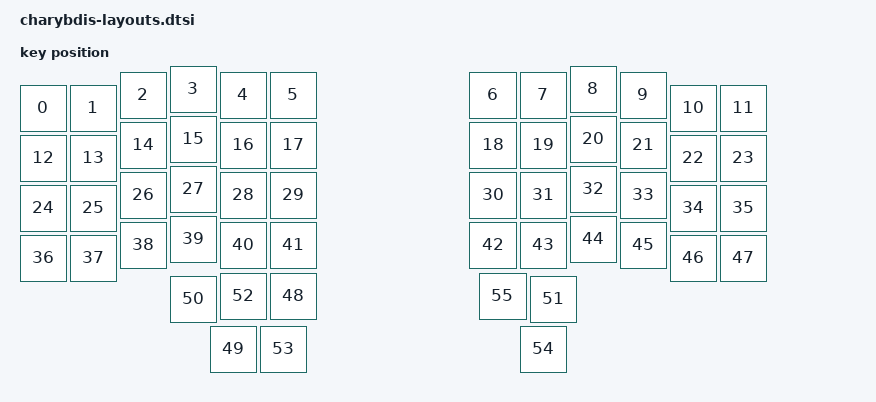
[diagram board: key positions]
#include <physical_layouts.dtsi>

/ {
    charybdis_physical_layout: charybdis_physical_layout {
        compatible = "zmk,physical-layout";
        display-name = "Charybdis 4x6";

        kscan = <&kscan0>;
        transform = <&default_transform>;

        keys
            // Left Half - Main Keys
            //                       w   h    x    y     rot    rx    ry
            = <&key_physical_attrs 100 100    0   38       0     0     0>
            , <&key_physical_attrs 100 100  100   38       0     0     0>
            , <&key_physical_attrs 100 100  200   12       0     0     0>
            , <&key_physical_attrs 100 100  300    0       0     0     0>
            , <&key_physical_attrs 100 100  400   12       0     0     0>
            , <&key_physical_attrs 100 100  500   12       0     0     0>
            , <&key_physical_attrs 100 100  900   12       0     0     0>
            , <&key_physical_attrs 100 100 1000   12       0     0     0>
            , <&key_physical_attrs 100 100 1100    0       0     0     0>
            , <&key_physical_attrs 100 100 1200   12       0     0     0>
            , <&key_physical_attrs 100 100 1300   38       0     0     0>
            , <&key_physical_attrs 100 100 1400   38       0     0     0>
            // 2
            , <&key_physical_attrs 100 100    0  138       0     0     0>
            , <&key_physical_attrs 100 100  100  138       0     0     0>
            , <&key_physical_attrs 100 100  200  112       0     0     0>
            , <&key_physical_attrs 100 100  300  100       0     0     0>
            , <&key_physical_attrs 100 100  400  112       0     0     0>
            , <&key_physical_attrs 100 100  500  112       0     0     0>
            , <&key_physical_attrs 100 100  900  112       0     0     0>
            , <&key_physical_attrs 100 100 1000  112       0     0     0>
            , <&key_physical_attrs 100 100 1100  100       0     0     0>
            , <&key_physical_attrs 100 100 1200  112       0     0     0>
            , <&key_physical_attrs 100 100 1300  138       0     0     0>
            , <&key_physical_attrs 100 100 1400  138       0     0     0>
            // 3
            , <&key_physical_attrs 100 100    0  238       0     0     0>
            , <&key_physical_attrs 100 100  100  238       0     0     0>
            , <&key_physical_attrs 100 100  200  212       0     0     0>
            , <&key_physical_attrs 100 100  300  200       0     0     0>
            , <&key_physical_attrs 100 100  400  212       0     0     0>
            , <&key_physical_attrs 100 100  500  212       0     0     0>
            , <&key_physical_attrs 100 100  900  212       0     0     0>
            , <&key_physical_attrs 100 100 1000  212       0     0     0>
            , <&key_physical_attrs 100 100 1100  200       0     0     0>
            , <&key_physical_attrs 100 100 1200  212       0     0     0>
            , <&key_physical_attrs 100 100 1300  238       0     0     0>
            , <&key_physical_attrs 100 100 1400  238       0     0     0>
            // 4
            , <&key_physical_attrs 100 100    0  338       0     0     0>
            , <&key_physical_attrs 100 100  100  338       0     0     0>
            , <&key_physical_attrs 100 100  200  312       0     0     0>
            , <&key_physical_attrs 100 100  300  300       0     0     0>
            , <&key_physical_attrs 100 100  400  312       0     0     0>
            , <&key_physical_attrs 100 100  500  312       0     0     0>
            , <&key_physical_attrs 100 100  900  312       0     0     0>
            , <&key_physical_attrs 100 100 1000  312       0     0     0>
            , <&key_physical_attrs 100 100 1100  300       0     0     0>
            , <&key_physical_attrs 100 100 1200  312       0     0     0>
            , <&key_physical_attrs 100 100 1300  338       0     0     0>
            , <&key_physical_attrs 100 100 1400  338       0     0     0>

            // Thumb Clusters — coordinates arranged to match the physical board so
            // ZMK Studio renders them in the right places. Order below is by POSITION
            // index (48-55), which must follow the transform map order, not the
            // visual left-to-right layout.
            //                       w   h    x    y   rot  rx  ry
            , <&key_physical_attrs 100 100  500  414    0   0   0>   // 48 SPACE        (left-top, outer)
            , <&key_physical_attrs 100 100  380  520    0   0   0>   // 49 MO(BTMD)     (left-bottom, inner)
            , <&key_physical_attrs 100 100  300  420    0   0   0>   // 50 LCLK         (left-top, inner)
            , <&key_physical_attrs 100 100 1020  420    0   0   0>   // 51 ENTER work   (right-top, right)
            , <&key_physical_attrs 100 100  400  414    0   0   0>   // 52 MO(MOD)      (left-top, middle)
            , <&key_physical_attrs 100 100  480  520    0   0   0>   // 53 RCLK         (left-bottom, right)
            , <&key_physical_attrs 100 100 1000  520    0   0   0>   // 54 LGUI         (right-bottom)
            , <&key_physical_attrs 100 100  920  414    0   0   0>   // 55 ENTER recov. (right-top, left)
            ;
    };
};
